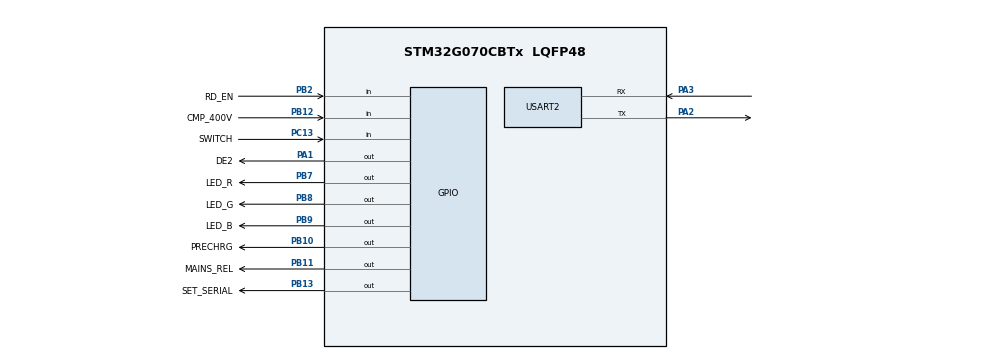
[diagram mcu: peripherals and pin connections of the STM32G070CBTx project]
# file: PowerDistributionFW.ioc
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Mcu.Family=STM32G0
Mcu.Name=STM32G070CBTx
Mcu.Package=LQFP48
NVIC.USART2_IRQn=true\:0\:0\:false\:false\:true\:true\:true\:true
PA1.GPIO_Label=DE2
PA1.GPIO_ModeDefaultOutputPP=GPIO_MODE_OUTPUT_PP
PA1.Signal=GPIO_Output
PA13.Mode=Serial_Wire
PA13.Signal=SYS_SWDIO
PA14-BOOT0.Mode=Serial_Wire
PA14-BOOT0.Signal=SYS_SWCLK
PA2.Mode=Asynchronous
PA2.Signal=USART2_TX
PA3.Mode=Asynchronous
PA3.Signal=USART2_RX
PB10.GPIO_Label=PRECHRG
PB10.Signal=GPIO_Output
PB11.GPIO_Label=MAINS_REL
PB11.Signal=GPIO_Output
PB12.GPIO_Label=CMP_400V
PB12.GPIO_PuPd=GPIO_PULLDOWN
PB12.Signal=GPIO_Input
PB13.GPIO_Label=SET_SERIAL
PB13.Signal=GPIO_Output
PB2.GPIO_Label=RD_EN
PB2.GPIO_PuPd=GPIO_PULLUP
PB2.Signal=GPIO_Input
PB7.GPIO_Label=LED_R
PB7.Signal=GPIO_Output
PB8.GPIO_Label=LED_G
PB8.Signal=GPIO_Output
PB9.GPIO_Label=LED_B
PB9.Signal=GPIO_Output
PC13.GPIO_Label=SWITCH
PC13.GPIO_PuPd=GPIO_PULLDOWN
PC13.Signal=GPIO_Input
PF0-OSC_IN\ (PF0).Mode=HSE-External-Oscillator
PF0-OSC_IN\ (PF0).Signal=RCC_OSC_IN
PF1-OSC_OUT\ (PF1).Mode=HSE-External-Oscillator
PF1-OSC_OUT\ (PF1).Signal=RCC_OSC_OUT
ProjectManager.HeapSize=0x200
ProjectManager.StackSize=0x400
ProjectManager.TargetToolchain=STM32CubeIDE
RCC.ADCFreq_Value=64000000
RCC.AHBFreq_Value=64000000
RCC.CortexFreq_Value=64000000
RCC.EXTERNAL_CLOCK_VALUE=48000
RCC.HCLKFreq_Value=64000000
RCC.HSE_VALUE=8000000
RCC.HSI_VALUE=16000000
RCC.LSE_VALUE=32768
RCC.SYSCLKFreq_VALUE=64000000
RCC.SYSCLKSource=RCC_SYSCLKSOURCE_PLLCLK
RCC.VCOOutputFreq_Value=128000000
USART2.VirtualMode-Asynchronous=VM_ASYNC
board=custom

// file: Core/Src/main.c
/* USER CODE BEGIN Header */
/**
  ******************************************************************************
  * @file           : main.c
  * @brief          : Main program body
  ******************************************************************************
  * @attention
  *
  * Copyright (c) 2023 STMicroelectronics.
  * All rights reserved.
  *
  * This software is licensed under terms that can be found in the LICENSE file
  * in the root directory of this software component.
  * If no LICENSE file comes with this software, it is provided AS-IS.
  *
  ******************************************************************************
  */
/* USER CODE END Header */
#include "main.h"

/* USER CODE BEGIN Includes */
// version 1.0.1
#define N_LOOP_CYCLES     (5)   // cyles
#define CYCLES_TIME_ON    20  //  sec
#define CYCLES_TIME_OFF   40  //  sec
#define TIME_PRECHARGE_OFF     5000  // msec

#define   TIME_POWER_OFF    30000
#define   TIME_POWER_ON     10000
/* USER CODE END Includes */

/* USER CODE BEGIN PTD */
#include <stdio.h>
#include <string.h>
/* USER CODE END PTD */

UART_HandleTypeDef huart2;

void SystemClock_Config(void);
static void MX_GPIO_Init(void);
static void MX_USART2_UART_Init(void);
/* USER CODE BEGIN PFP */
uint32_t counterSwitch = 0;
uint8_t stateSwitch = 0;
uint8_t leaveSwitch = 0;
uint32_t timeoutPwrOff = 0;
/* USER CODE END PFP */

/* USER CODE BEGIN 0 */
void SwitchTimingHandlar(void)
{
	timeoutPwrOff ++;
	if(leaveSwitch)
	{
		return;
	}
	counterSwitch ++;
}

uint8_t greenLEDState = 0;
uint32_t greenLedTimer = 0;
void LED_GreenHandler (void)
{

	if(greenLEDState == 0)
	{
	  return; //	LL_GPIO_ResetOutputPin(LED_G_GPIO_Port, LED_G_Pin);
	}

	if(greenLEDState == 1)
	{
		greenLedTimer++;

		if(greenLedTimer > TIME_LED_GREEN_BLINK)
		{
			greenLedTimer = 0;
			LL_GPIO_TogglePin(LED_G_GPIO_Port, LED_G_Pin);
		}
	}

	if(greenLEDState == 2)
	{
		LL_GPIO_SetOutputPin(LED_G_GPIO_Port, LED_G_Pin);
	}
}
uint8_t cntPwrOff = 0;
uint32_t loop_cnt = 0;
uint8_t rx_byte;
uint8_t rx_buff[255]={0};
uint8_t rx_cnt = 0;
uint8_t get_cmd = 0;
int cnt_reboot= 0;

#define CMD_NUM 5
char cmd_list[CMD_NUM][10]  = {"off",
                               "bus",
				               "reboot",
                               "on",
                               "count"};

int i = 0;
uint8_t power_state = 0;

void HAL_UART_RxCpltCallback(UART_HandleTypeDef *huart)
{
  if(rx_byte == 0x0D)
  {
	 for(i = 0; i < CMD_NUM; i++)
	 {
		 char *ptData = NULL;
		 ptData = strstr((char*)&rx_buff[0], (char*)&cmd_list[i][0]);
		 if(ptData != NULL)
		 {
			 get_cmd = i + 1;
			 break;
		 }
	 }
	 /*if(get_cmd == CMD_NUM)
	 {
		get_cmd = 0;
		char tempBuff[32] = {0};
		sprintf(tempBuff, "count:%d;", cnt_reboot);
		Send_RS485_Data(tempBuff);

	 }*/
	 memset((char*)&rx_buff[0], 0x00, sizeof(rx_buff));
	 rx_cnt = 0;
  }
  else
  {
	  rx_buff[rx_cnt++] = rx_byte;
  }
  HAL_UART_Receive_IT(&huart2, &rx_byte, 1);
}

void PowerOn (void)
{
	greenLEDState = 2;
	LL_GPIO_SetOutputPin(MAINS_REL_GPIO_Port, MAINS_REL_Pin);
	HAL_Delay(TIME_PRECHARGE_OFF);
	LL_GPIO_SetOutputPin(PRECHRG_GPIO_Port, PRECHRG_Pin);
	power_state = 1;
}

void PowerOff (void)
{
	LL_GPIO_ResetOutputPin(MAINS_REL_GPIO_Port, MAINS_REL_Pin);
	HAL_Delay(TIME_PRECHARGE_OFF);
	LL_GPIO_ResetOutputPin(PRECHRG_GPIO_Port, PRECHRG_Pin);
	greenLEDState = 1;
	power_state = 0;
}

void Send_RS485_Data (char *buff)
{
	uint8_t len = strlen(buff);
	LL_GPIO_SetOutputPin(DE2_GPIO_Port, DE2_Pin);
	HAL_Delay(1);
	HAL_UART_Transmit(&huart2, (uint8_t*)buff, len, len *2);
	HAL_Delay(1);
	LL_GPIO_ResetOutputPin(DE2_GPIO_Port, DE2_Pin);
}
uint8_t reboot_flag = 0;
uint8_t reboot_state_off =0;
uint32_t reboot_time = 0;
/* USER CODE END 0 */

int main(void)
{

  /* MCU Configuration--------------------------------------------------------*/

  /* Reset of all peripherals, Initializes the Flash interface and the Systick. */
  HAL_Init();

  /* USER CODE BEGIN Init */
  HAL_Delay(1000);
  /* USER CODE END Init */

  /* Configure the system clock */
  SystemClock_Config();

  /* Initialize all configured peripherals */
  MX_GPIO_Init();
  MX_USART2_UART_Init();
  HAL_UART_Receive_IT(&huart2, &rx_byte, 1);
  /* USER CODE BEGIN 2 */
  uint8_t cnt400V[2] = {0};
  while(1)
  {
	  if(LL_GPIO_IsInputPinSet(CMP_400V_GPIO_Port,CMP_400V_Pin))
	  {
		  cnt400V[0]++;
		  cnt400V[1]=0;
	  }
	  else
	  {
		  cnt400V[1]++;
		  cnt400V[0]=0;
	  }
	  HAL_Delay(33);

	  if(cnt400V[1] >= COUNT_400V_PULL)
	  {
	       LL_GPIO_SetOutputPin(SET_SERIAL_GPIO_Port, SET_SERIAL_Pin);
           LL_GPIO_SetOutputPin(LED_R_GPIO_Port, LED_R_Pin);
		  break;
	  }
	  else if(cnt400V[0] >= COUNT_400V_PULL)
	  {
		  LL_GPIO_ResetOutputPin(SET_SERIAL_GPIO_Port, SET_SERIAL_Pin);
		  LL_GPIO_SetOutputPin(LED_B_GPIO_Port, LED_B_Pin);
		  break;
	  }

  }
  //LL_GPIO_SetOutputPin(MAINS_REL_GPIO_Port, MAINS_REL_Pin);
  HAL_Delay(2000);
  //LL_GPIO_SetOutputPin(PRECHRG_GPIO_Port, PRECHRG_Pin);
  greenLEDState = 1;
  LL_GPIO_ResetOutputPin(LED_R_GPIO_Port, LED_R_Pin);
  LL_GPIO_ResetOutputPin(LED_G_GPIO_Port, LED_G_Pin);
  LL_GPIO_ResetOutputPin(LED_B_GPIO_Port, LED_B_Pin);
  counterSwitch = 0;

  /* USER CODE END 2 */

  /* Infinite loop */
  /* USER CODE BEGIN WHILE */

 /* while(LL_GPIO_IsInputPinSet(SWITCH_GPIO_Port,SWITCH_Pin) != 0)
  {

  }*/

  while (1)
  {
    /* USER CODE END WHILE */

    /* USER CODE BEGIN 3 */

	if(LL_GPIO_IsInputPinSet(SWITCH_GPIO_Port,SWITCH_Pin) == 0)
	{
		if(LL_GPIO_IsInputPinSet(RD_EN_GPIO_Port, RD_EN_Pin) == 0)
		{
		   while(LL_GPIO_IsInputPinSet(RD_EN_GPIO_Port,RD_EN_Pin) == 0)
		   {
			  LL_GPIO_SetOutputPin(LED_R_GPIO_Port, LED_R_Pin);
			  LL_GPIO_ResetOutputPin(LED_G_GPIO_Port, LED_G_Pin);
			  LL_GPIO_ResetOutputPin(LED_B_GPIO_Port, LED_B_Pin);
		   }

			  LL_GPIO_ResetOutputPin(LED_R_GPIO_Port, LED_R_Pin);
			  LL_GPIO_ResetOutputPin(LED_G_GPIO_Port, LED_G_Pin);
			  LL_GPIO_ResetOutputPin(LED_B_GPIO_Port, LED_B_Pin);
			  counterSwitch = 0;
			  leaveSwitch   = 0;

		}

		if( (counterSwitch > TIME_SWITCH_PRESSHED)&&(leaveSwitch == 0) )
		{
			stateSwitch ^= 1;

			if(stateSwitch)
			{
				PowerOn ();

				//HAL_Delay(CYCLES_TIME_ON  * 1000);
			}
			else
			{
				cnt_reboot = 0;
				PowerOff ();

				//HAL_Delay(CYCLES_TIME_OFF  * 1000);
			}
			leaveSwitch = 1;
		 }
	  }
	  else
	  {
		counterSwitch = 0;
		leaveSwitch   = 0;
	  }

	if(get_cmd)
	{
		switch(get_cmd)
		{

			case 1:
				if(power_state)
				{
					if(LL_GPIO_IsInputPinSet(RD_EN_GPIO_Port, RD_EN_Pin) == 0)
					{
						Send_RS485_Data("power_off:-1;");
					}
					else
					{
						Send_RS485_Data("power_off:0;");
						HAL_Delay(30000);
						PowerOff ();
					}
				}
				else
				{
					Send_RS485_Data("power_off:1;");
				}
			break;
			case 2:
				if(LL_GPIO_IsInputPinSet(RD_EN_GPIO_Port, RD_EN_Pin) == 0)
				{
					Send_RS485_Data("bus:1;");
				}
				else
				{
					Send_RS485_Data("bus:0;");
				}
			break;
			case 3:
				if(LL_GPIO_IsInputPinSet(RD_EN_GPIO_Port, RD_EN_Pin) == 0)
				{
					Send_RS485_Data("reboot:-1;");
				}
				else
				{
					if(reboot_flag)
					{
					    Send_RS485_Data("reboot:2;");
					}
					else
					{
						reboot_flag = 1;
						reboot_state_off = 1;
						reboot_time = HAL_GetTick();
						cnt_reboot ++;
						Send_RS485_Data("reboot:1;");
					}
				}
			break;
			case 4:
				Send_RS485_Data("power_on:1;");
				PowerOn ();
			break;
			case 5:
				char tempBuff[32] = {0};
				sprintf(tempBuff, "count:%d;", cnt_reboot);
				Send_RS485_Data(tempBuff);
			break;

		}
		get_cmd = 0;
     }

	if(reboot_flag)
	{
	   if(reboot_state_off)
	   {
		   if(HAL_GetTick() > reboot_time + TIME_POWER_OFF)
		   {
			   reboot_state_off = 0;
			   PowerOff ();
			   reboot_time = HAL_GetTick();
		   }
	   }
	   else
	   {
		   if(HAL_GetTick() > reboot_time + TIME_POWER_ON)
		   {
			   PowerOn ();
			   reboot_flag = 0;
		   }
	   }
	}

  }
  /* USER CODE END 3 */
}

void SystemClock_Config(void)
{
  LL_FLASH_SetLatency(LL_FLASH_LATENCY_2);
  while(LL_FLASH_GetLatency() != LL_FLASH_LATENCY_2)
  {
  }

  /* HSI configuration and activation */
  LL_RCC_HSI_Enable();
  while(LL_RCC_HSI_IsReady() != 1)
  {
  }

  /* Main PLL configuration and activation */
  LL_RCC_PLL_ConfigDomain_SYS(LL_RCC_PLLSOURCE_HSI, LL_RCC_PLLM_DIV_1, 8, LL_RCC_PLLR_DIV_2);
  LL_RCC_PLL_Enable();
  LL_RCC_PLL_EnableDomain_SYS();
  while(LL_RCC_PLL_IsReady() != 1)
  {
  }

  /* Set AHB prescaler*/
  LL_RCC_SetAHBPrescaler(LL_RCC_SYSCLK_DIV_1);

  /* Sysclk activation on the main PLL */
  LL_RCC_SetSysClkSource(LL_RCC_SYS_CLKSOURCE_PLL);
  while(LL_RCC_GetSysClkSource() != LL_RCC_SYS_CLKSOURCE_STATUS_PLL)
  {
  }

  /* Set APB1 prescaler*/
  LL_RCC_SetAPB1Prescaler(LL_RCC_APB1_DIV_1);
  /* Update CMSIS variable (which can be updated also through SystemCoreClockUpdate function) */
  LL_SetSystemCoreClock(64000000);

   /* Update the time base */
  if (HAL_InitTick (TICK_INT_PRIORITY) != HAL_OK)
  {
    Error_Handler();
  }
}

static void MX_USART2_UART_Init(void)
{

  huart2.Instance = USART2;
  huart2.Init.BaudRate = 115200;
  huart2.Init.WordLength = UART_WORDLENGTH_8B;
  huart2.Init.StopBits = UART_STOPBITS_1;
  huart2.Init.Parity = UART_PARITY_NONE;
  huart2.Init.Mode = UART_MODE_TX_RX;
  huart2.Init.HwFlowCtl = UART_HWCONTROL_NONE;
  huart2.Init.OverSampling = UART_OVERSAMPLING_16;
  huart2.Init.OneBitSampling = UART_ONE_BIT_SAMPLE_DISABLE;
  huart2.Init.ClockPrescaler = UART_PRESCALER_DIV1;
  huart2.AdvancedInit.AdvFeatureInit = UART_ADVFEATURE_NO_INIT;
  if (HAL_UART_Init(&huart2) != HAL_OK)
  {
    Error_Handler();
  }
  if (HAL_UARTEx_SetTxFifoThreshold(&huart2, UART_TXFIFO_THRESHOLD_1_8) != HAL_OK)
  {
    Error_Handler();
  }
  if (HAL_UARTEx_SetRxFifoThreshold(&huart2, UART_RXFIFO_THRESHOLD_1_8) != HAL_OK)
  {
    Error_Handler();
  }
  if (HAL_UARTEx_DisableFifoMode(&huart2) != HAL_OK)
  {
    Error_Handler();
  }

}

static void MX_GPIO_Init(void)
{
  LL_GPIO_InitTypeDef GPIO_InitStruct = {0};

  /* GPIO Ports Clock Enable */
  LL_IOP_GRP1_EnableClock(LL_IOP_GRP1_PERIPH_GPIOC);
  LL_IOP_GRP1_EnableClock(LL_IOP_GRP1_PERIPH_GPIOF);
  LL_IOP_GRP1_EnableClock(LL_IOP_GRP1_PERIPH_GPIOA);
  LL_IOP_GRP1_EnableClock(LL_IOP_GRP1_PERIPH_GPIOB);

  /**/
  LL_GPIO_ResetOutputPin(DE2_GPIO_Port, DE2_Pin);

  /**/
  LL_GPIO_ResetOutputPin(PRECHRG_GPIO_Port, PRECHRG_Pin);

  /**/
  LL_GPIO_ResetOutputPin(MAINS_REL_GPIO_Port, MAINS_REL_Pin);

  /**/
  LL_GPIO_ResetOutputPin(SET_SERIAL_GPIO_Port, SET_SERIAL_Pin);

  /**/
  LL_GPIO_ResetOutputPin(LED_R_GPIO_Port, LED_R_Pin);

  /**/
  LL_GPIO_ResetOutputPin(LED_G_GPIO_Port, LED_G_Pin);

  /**/
  LL_GPIO_ResetOutputPin(LED_B_GPIO_Port, LED_B_Pin);

  /**/
  GPIO_InitStruct.Pin = SWITCH_Pin;
  GPIO_InitStruct.Mode = LL_GPIO_MODE_INPUT;
  GPIO_InitStruct.Pull = LL_GPIO_PULL_DOWN;
  LL_GPIO_Init(SWITCH_GPIO_Port, &GPIO_InitStruct);

  /**/
  GPIO_InitStruct.Pin = DE2_Pin;
  GPIO_InitStruct.Mode = LL_GPIO_MODE_OUTPUT;
  GPIO_InitStruct.Speed = LL_GPIO_SPEED_FREQ_LOW;
  GPIO_InitStruct.OutputType = LL_GPIO_OUTPUT_PUSHPULL;
  GPIO_InitStruct.Pull = LL_GPIO_PULL_NO;
  LL_GPIO_Init(DE2_GPIO_Port, &GPIO_InitStruct);

  /**/
  GPIO_InitStruct.Pin = RD_EN_Pin;
  GPIO_InitStruct.Mode = LL_GPIO_MODE_INPUT;
  GPIO_InitStruct.Pull = LL_GPIO_PULL_UP;
  LL_GPIO_Init(RD_EN_GPIO_Port, &GPIO_InitStruct);

  /**/
  GPIO_InitStruct.Pin = PRECHRG_Pin;
  GPIO_InitStruct.Mode = LL_GPIO_MODE_OUTPUT;
  GPIO_InitStruct.Speed = LL_GPIO_SPEED_FREQ_LOW;
  GPIO_InitStruct.OutputType = LL_GPIO_OUTPUT_PUSHPULL;
  GPIO_InitStruct.Pull = LL_GPIO_PULL_NO;
  LL_GPIO_Init(PRECHRG_GPIO_Port, &GPIO_InitStruct);

  /**/
  GPIO_InitStruct.Pin = MAINS_REL_Pin;
  GPIO_InitStruct.Mode = LL_GPIO_MODE_OUTPUT;
  GPIO_InitStruct.Speed = LL_GPIO_SPEED_FREQ_LOW;
  GPIO_InitStruct.OutputType = LL_GPIO_OUTPUT_PUSHPULL;
  GPIO_InitStruct.Pull = LL_GPIO_PULL_NO;
  LL_GPIO_Init(MAINS_REL_GPIO_Port, &GPIO_InitStruct);

  /**/
  GPIO_InitStruct.Pin = CMP_400V_Pin;
  GPIO_InitStruct.Mode = LL_GPIO_MODE_INPUT;
  GPIO_InitStruct.Pull = LL_GPIO_PULL_DOWN;
  LL_GPIO_Init(CMP_400V_GPIO_Port, &GPIO_InitStruct);

  /**/
  GPIO_InitStruct.Pin = SET_SERIAL_Pin;
  GPIO_InitStruct.Mode = LL_GPIO_MODE_OUTPUT;
  GPIO_InitStruct.Speed = LL_GPIO_SPEED_FREQ_LOW;
  GPIO_InitStruct.OutputType = LL_GPIO_OUTPUT_PUSHPULL;
  GPIO_InitStruct.Pull = LL_GPIO_PULL_NO;
  LL_GPIO_Init(SET_SERIAL_GPIO_Port, &GPIO_InitStruct);

  /**/
  GPIO_InitStruct.Pin = LED_R_Pin;
  GPIO_InitStruct.Mode = LL_GPIO_MODE_OUTPUT;
  GPIO_InitStruct.Speed = LL_GPIO_SPEED_FREQ_LOW;
  GPIO_InitStruct.OutputType = LL_GPIO_OUTPUT_PUSHPULL;
  GPIO_InitStruct.Pull = LL_GPIO_PULL_NO;
  LL_GPIO_Init(LED_R_GPIO_Port, &GPIO_InitStruct);

  /**/
  GPIO_InitStruct.Pin = LED_G_Pin;
  GPIO_InitStruct.Mode = LL_GPIO_MODE_OUTPUT;
  GPIO_InitStruct.Speed = LL_GPIO_SPEED_FREQ_LOW;
  GPIO_InitStruct.OutputType = LL_GPIO_OUTPUT_PUSHPULL;
  GPIO_InitStruct.Pull = LL_GPIO_PULL_NO;
  LL_GPIO_Init(LED_G_GPIO_Port, &GPIO_InitStruct);

  /**/
  GPIO_InitStruct.Pin = LED_B_Pin;
  GPIO_InitStruct.Mode = LL_GPIO_MODE_OUTPUT;
  GPIO_InitStruct.Speed = LL_GPIO_SPEED_FREQ_LOW;
  GPIO_InitStruct.OutputType = LL_GPIO_OUTPUT_PUSHPULL;
  GPIO_InitStruct.Pull = LL_GPIO_PULL_NO;
  LL_GPIO_Init(LED_B_GPIO_Port, &GPIO_InitStruct);

}

void Error_Handler(void)
{
  __disable_irq();
  while (1)
  {
  }
}
